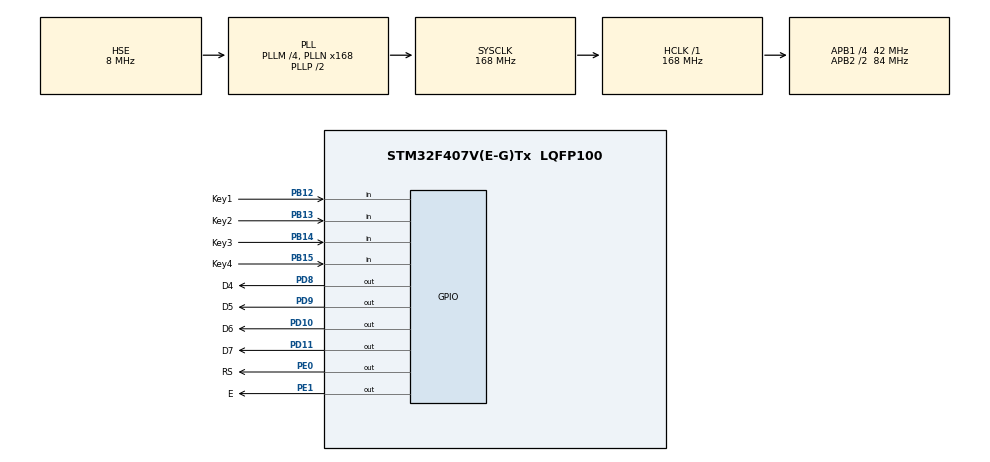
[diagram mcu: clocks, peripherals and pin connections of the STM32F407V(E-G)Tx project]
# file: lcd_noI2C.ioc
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Mcu.Family=STM32F4
Mcu.Name=STM32F407V(E-G)Tx
Mcu.Package=LQFP100
NVIC.PriorityGroup=NVIC_PRIORITYGROUP_4
PB12.GPIO_Label=Key1
PB12.GPIO_PuPd=GPIO_PULLUP
PB12.Signal=GPIO_Input
PB13.GPIO_Label=Key2
PB13.GPIO_PuPd=GPIO_PULLUP
PB13.Signal=GPIO_Input
PB14.GPIO_Label=Key3
PB14.GPIO_PuPd=GPIO_PULLUP
PB14.Signal=GPIO_Input
PB15.GPIO_Label=Key4
PB15.GPIO_PuPd=GPIO_PULLUP
PB15.Signal=GPIO_Input
PD10.GPIO_Label=D6
PD10.Signal=GPIO_Output
PD11.GPIO_Label=D7
PD11.Signal=GPIO_Output
PD8.GPIO_Label=D4
PD8.Signal=GPIO_Output
PD9.GPIO_Label=D5
PD9.Signal=GPIO_Output
PE0.GPIO_Label=RS
PE0.Signal=GPIO_Output
PE1.GPIO_Label=E
PE1.Signal=GPIO_Output
PH0-OSC_IN.Mode=HSE-External-Oscillator
PH0-OSC_IN.Signal=RCC_OSC_IN
PH1-OSC_OUT.Mode=HSE-External-Oscillator
PH1-OSC_OUT.Signal=RCC_OSC_OUT
ProjectManager.HeapSize=0x200
ProjectManager.StackSize=0x400
ProjectManager.TargetToolchain=STM32CubeIDE
RCC.48MHZClocksFreq_Value=84000000
RCC.AHBFreq_Value=168000000
RCC.APB1CLKDivider=RCC_HCLK_DIV4
RCC.APB1Freq_Value=42000000
RCC.APB1TimFreq_Value=84000000
RCC.APB2CLKDivider=RCC_HCLK_DIV2
RCC.APB2Freq_Value=84000000
RCC.APB2TimFreq_Value=168000000
RCC.CortexFreq_Value=168000000
RCC.HCLKFreq_Value=168000000
RCC.HSE_VALUE=8000000
RCC.HSI_VALUE=16000000
RCC.LSE_VALUE=32768
RCC.PLLM=4
RCC.PLLN=168
RCC.PLLSourceVirtual=RCC_PLLSOURCE_HSE
RCC.SYSCLKFreq_VALUE=168000000
RCC.SYSCLKSource=RCC_SYSCLKSOURCE_PLLCLK
RCC.VCOOutputFreq_Value=336000000
board=custom

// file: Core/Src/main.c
/* USER CODE BEGIN Header */
/**
  ******************************************************************************
  * @file           : main.c
  * @brief          : Main program body
  ******************************************************************************
  * @attention
  *
  * <h2><center>&copy; Copyright (c) 2020 STMicroelectronics.
  * All rights reserved.</center></h2>
  *
  * This software component is licensed by ST under BSD 3-Clause license,
  * the "License"; You may not use this file except in compliance with the
  * License. You may obtain a copy of the License at:
  *                        opensource.org/licenses/BSD-3-Clause
  *
  ******************************************************************************
  */
/* USER CODE END Header */

#include "main.h"

void SystemClock_Config(void);
static void MX_GPIO_Init(void);

int main(void)
{

  /* MCU Configuration--------------------------------------------------------*/

  /* Reset of all peripherals, Initializes the Flash interface and the Systick. */
  HAL_Init();

  /* Configure the system clock */
  SystemClock_Config();

  /* Initialize all configured peripherals */
  MX_GPIO_Init();
  /* USER CODE BEGIN 2 */

  //LCD1602_Begin8BIT(RS_GPIO_Port, RS_Pin, E_Pin, D0_GPIO_Port, D0_Pin, D1_Pin, D2_Pin, D3_Pin, D4_GPIO_Port, D4_Pin, D5_Pin, D6_Pin, D7_Pin);
  LCD1602_Begin4BIT(RS_GPIO_Port, RS_Pin, E_Pin, D4_GPIO_Port, D4_Pin, D5_Pin, D6_Pin, D7_Pin);

  LCD1602_noCursor();
  LCD1602_noBlink();

  /* USER CODE END 2 */

  /* Infinite loop */
  /* USER CODE BEGIN WHILE */
  while (1)
  {
	  int value = HAL_GPIO_ReadPin(GPIOB, Key4_Pin);
	  if(value){
	  LCD1602_clear();
	  LCD1602_print("Hello world");
	  LCD1602_2ndLine();
	  LCD1602_print("Radio Pogoda");
	  HAL_Delay(500);
	  }else{
	  LCD1602_clear();
	  LCD1602_print("Projekt PTM");
	  LCD1602_2ndLine();
	  LCD1602_print("MM MM JP");
	  HAL_Delay(500);
	  }
    /* USER CODE END WHILE */

  }
}

void SystemClock_Config(void)
{
  RCC_OscInitTypeDef RCC_OscInitStruct = {0};
  RCC_ClkInitTypeDef RCC_ClkInitStruct = {0};

  /** Configure the main internal regulator output voltage
  */
  __HAL_RCC_PWR_CLK_ENABLE();
  __HAL_PWR_VOLTAGESCALING_CONFIG(PWR_REGULATOR_VOLTAGE_SCALE1);
  /** Initializes the CPU, AHB and APB busses clocks
  */
  RCC_OscInitStruct.OscillatorType = RCC_OSCILLATORTYPE_HSE;
  RCC_OscInitStruct.HSEState = RCC_HSE_ON;
  RCC_OscInitStruct.PLL.PLLState = RCC_PLL_ON;
  RCC_OscInitStruct.PLL.PLLSource = RCC_PLLSOURCE_HSE;
  RCC_OscInitStruct.PLL.PLLM = 4;
  RCC_OscInitStruct.PLL.PLLN = 168;
  RCC_OscInitStruct.PLL.PLLP = RCC_PLLP_DIV2;
  RCC_OscInitStruct.PLL.PLLQ = 4;
  if (HAL_RCC_OscConfig(&RCC_OscInitStruct) != HAL_OK)
  {
    Error_Handler();
  }
  /** Initializes the CPU, AHB and APB busses clocks
  */
  RCC_ClkInitStruct.ClockType = RCC_CLOCKTYPE_HCLK|RCC_CLOCKTYPE_SYSCLK
                              |RCC_CLOCKTYPE_PCLK1|RCC_CLOCKTYPE_PCLK2;
  RCC_ClkInitStruct.SYSCLKSource = RCC_SYSCLKSOURCE_PLLCLK;
  RCC_ClkInitStruct.AHBCLKDivider = RCC_SYSCLK_DIV1;
  RCC_ClkInitStruct.APB1CLKDivider = RCC_HCLK_DIV4;
  RCC_ClkInitStruct.APB2CLKDivider = RCC_HCLK_DIV2;

  if (HAL_RCC_ClockConfig(&RCC_ClkInitStruct, FLASH_LATENCY_5) != HAL_OK)
  {
    Error_Handler();
  }
}

static void MX_GPIO_Init(void)
{
  GPIO_InitTypeDef GPIO_InitStruct = {0};

  /* GPIO Ports Clock Enable */
  __HAL_RCC_GPIOH_CLK_ENABLE();
  __HAL_RCC_GPIOB_CLK_ENABLE();
  __HAL_RCC_GPIOD_CLK_ENABLE();
  __HAL_RCC_GPIOE_CLK_ENABLE();

  /*Configure GPIO pin Output Level */
  HAL_GPIO_WritePin(GPIOD, D4_Pin|D5_Pin|D6_Pin|D7_Pin, GPIO_PIN_RESET);

  /*Configure GPIO pin Output Level */
  HAL_GPIO_WritePin(GPIOE, RS_Pin|E_Pin, GPIO_PIN_RESET);

  /*Configure GPIO pins : Key1_Pin Key2_Pin Key3_Pin Key4_Pin */
  GPIO_InitStruct.Pin = Key1_Pin|Key2_Pin|Key3_Pin|Key4_Pin;
  GPIO_InitStruct.Mode = GPIO_MODE_INPUT;
  GPIO_InitStruct.Pull = GPIO_PULLUP;
  HAL_GPIO_Init(GPIOB, &GPIO_InitStruct);

  /*Configure GPIO pins : D4_Pin D5_Pin D6_Pin D7_Pin */
  GPIO_InitStruct.Pin = D4_Pin|D5_Pin|D6_Pin|D7_Pin;
  GPIO_InitStruct.Mode = GPIO_MODE_OUTPUT_PP;
  GPIO_InitStruct.Pull = GPIO_NOPULL;
  GPIO_InitStruct.Speed = GPIO_SPEED_FREQ_LOW;
  HAL_GPIO_Init(GPIOD, &GPIO_InitStruct);

  /*Configure GPIO pins : RS_Pin E_Pin */
  GPIO_InitStruct.Pin = RS_Pin|E_Pin;
  GPIO_InitStruct.Mode = GPIO_MODE_OUTPUT_PP;
  GPIO_InitStruct.Pull = GPIO_NOPULL;
  GPIO_InitStruct.Speed = GPIO_SPEED_FREQ_LOW;
  HAL_GPIO_Init(GPIOE, &GPIO_InitStruct);

}

void Error_Handler(void)
{
}

/************************ (C) COPYRIGHT STMicroelectronics *****END OF FILE****/
